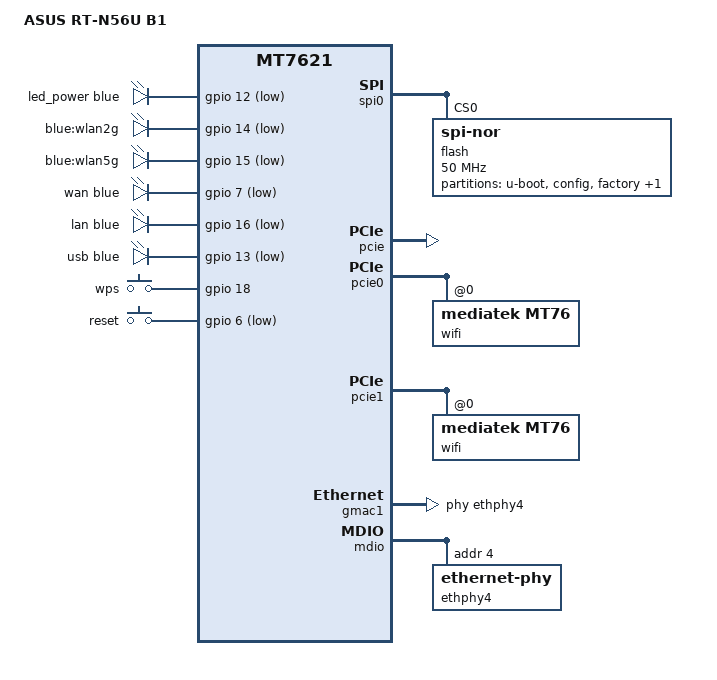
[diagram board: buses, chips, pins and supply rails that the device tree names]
// SPDX-License-Identifier: GPL-2.0-or-later OR MIT

#include "mt7621.dtsi"

#include <dt-bindings/gpio/gpio.h>
#include <dt-bindings/input/input.h>
#include <dt-bindings/leds/common.h>

/ {
	compatible = "asus,rt-n56u-b1", "mediatek,mt7621-soc";
	model = "ASUS RT-N56U B1";

	aliases {
		label-mac-device = &gmac1;
		led-boot = &led_power;
		led-failsafe = &led_power;
		led-running = &led_power;
		led-upgrade = &led_power;
	};

	chosen {
		bootargs = "console=ttyS0,115200";
	};

	leds {
		compatible = "gpio-leds";

		led_power: power {
			function = LED_FUNCTION_POWER;
			color = <LED_COLOR_ID_BLUE>;
			gpios = <&gpio 12 GPIO_ACTIVE_LOW>;
		};

		wlan2g {
			label = "blue:wlan2g";
			gpios = <&gpio 14 GPIO_ACTIVE_LOW>;
			linux,default-trigger = "phy0tpt";
		};

		wlan5g {
			label = "blue:wlan5g";
			gpios = <&gpio 15 GPIO_ACTIVE_LOW>;
			linux,default-trigger = "phy1tpt";
		};

		wan {
			function = LED_FUNCTION_WAN;
			color = <LED_COLOR_ID_BLUE>;
			gpios = <&gpio 7 GPIO_ACTIVE_LOW>;
		};

		lan {
			function = LED_FUNCTION_LAN;
			color = <LED_COLOR_ID_BLUE>;
			gpios = <&gpio 16 GPIO_ACTIVE_LOW>;
		};

		usb {
			function = LED_FUNCTION_USB;
			color = <LED_COLOR_ID_BLUE>;
			gpios = <&gpio 13 GPIO_ACTIVE_LOW>;
			trigger-sources = <&xhci_ehci_port1>, <&ehci_port2>;
			linux,default-trigger = "usbport";
		};
	};

	keys {
		compatible = "gpio-keys";

		wps {
			label = "wps";
			gpios = <&gpio 18 GPIO_ACTIVE_HIGH>;
			linux,code = <KEY_WPS_BUTTON>;
			debounce-interval = <60>;
		};

		reset {
			label = "reset";
			gpios = <&gpio 6 GPIO_ACTIVE_LOW>;
			linux,code = <KEY_RESTART>;
			debounce-interval = <60>;
		};
	};
};

&spi0 {
	status = "okay";

	flash@0 {
		compatible = "jedec,spi-nor";
		reg = <0>;
		spi-max-frequency = <50000000>;
		m25p,fast-read;

		partitions {
			compatible = "fixed-partitions";
			#address-cells = <1>;
			#size-cells = <1>;

			partition@0 {
				label = "u-boot";
				reg = <0x0 0x30000>;
				read-only;
			};

			partition@30000 {
				label = "config";
				reg = <0x30000 0x10000>;
				read-only;
			};

			partition@40000 {
				label = "factory";
				reg = <0x40000 0x10000>;
				read-only;

				nvmem-layout {
					compatible = "fixed-layout";
					#address-cells = <1>;
					#size-cells = <1>;

					eeprom_factory_0: eeprom@0 {
						reg = <0x0 0x400>;
					};

					eeprom_factory_8000: eeprom@8000 {
						reg = <0x8000 0x200>;
					};

					macaddr_factory_4: macaddr@4 {
						reg = <0x4 0x6>;
					};

					macaddr_factory_8004: macaddr@8004 {
						reg = <0x8004 0x6>;
					};
				};
			};

			partition@50000 {
				compatible = "denx,uimage";
				label = "firmware";
				reg = <0x50000 0xfb0000>;
			};
		};
	};
};

&pcie {
	status = "okay";
};

&pcie0 {
	wifi@0,0 {
		compatible = "mediatek,mt76";
		reg = <0x0000 0 0 0 0>;
		nvmem-cells = <&eeprom_factory_8000>;
		nvmem-cell-names = "eeprom";
	};
};

&pcie1 {
	wifi@0,0 {
		compatible = "mediatek,mt76";
		reg = <0x0000 0 0 0 0>;
		nvmem-cells = <&eeprom_factory_0>;
		nvmem-cell-names = "eeprom";
	};
};

&gmac0 {
	nvmem-cells = <&macaddr_factory_8004>;
	nvmem-cell-names = "mac-address";
};

&gmac1 {
	status = "okay";
	label = "wan";
	phy-handle = <&ethphy4>;

	nvmem-cells = <&macaddr_factory_4>;
	nvmem-cell-names = "mac-address";
};

&mdio {
	ethphy4: ethernet-phy@4 {
		reg = <4>;
	};
};

&switch0 {
	ports {
		port@0 {
			status = "okay";
			label = "lan4";
		};

		port@1 {
			status = "okay";
			label = "lan3";
		};

		port@2 {
			status = "okay";
			label = "lan2";
		};

		port@3 {
			status = "okay";
			label = "lan1";
		};
	};
};

&state_default {
	gpio {
		groups = "uart3", "uart2", "jtag", "wdt";
		function = "gpio";
	};
};
